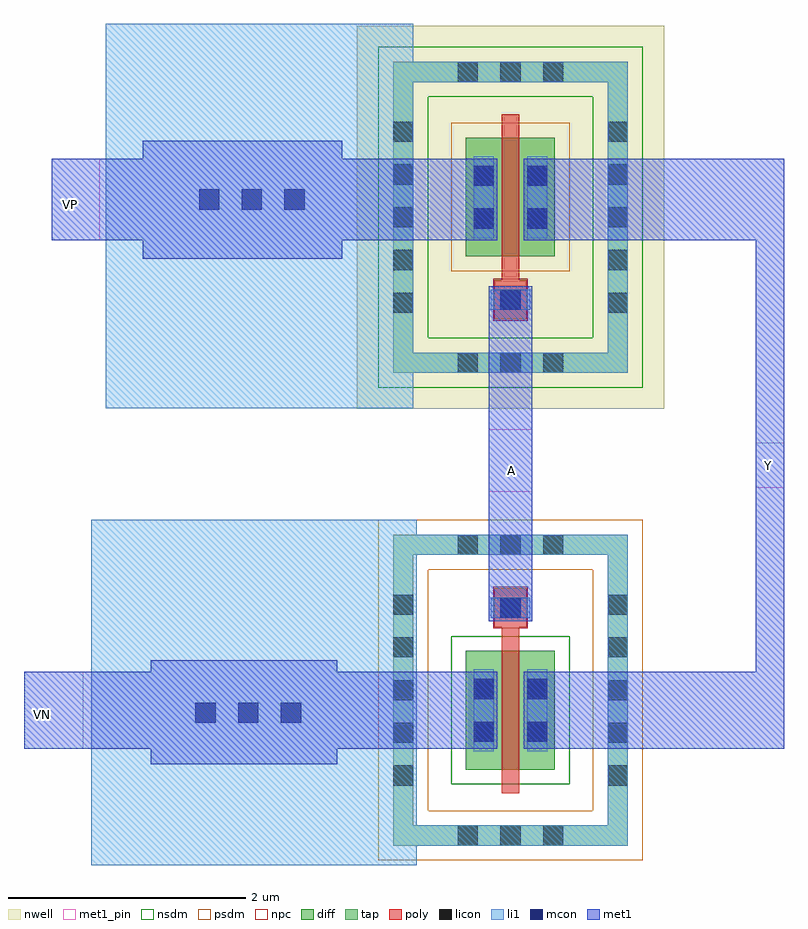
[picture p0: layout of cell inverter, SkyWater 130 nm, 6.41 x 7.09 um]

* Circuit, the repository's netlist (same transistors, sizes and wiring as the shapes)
* NGSPICE file created from inverter.ext - technology: sky130A

.subckt inverter A Y VP VN
X0 Y A VP VP sky130_fd_pr__pfet_01v8 ad=0.6 pd=3.2 as=0.6 ps=3.2 w=1 l=0.15
X1 Y A VN VN sky130_fd_pr__nfet_01v8 ad=0.6 pd=3.2 as=0.6 ps=3.2 w=1 l=0.15
.ends

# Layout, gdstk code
import gdstk
lib = gdstk.Library(unit=1e-6, precision=5e-09)
def R(c, l, rs):  # rectangles x0, y0, x1, y1
    for r in rs: c.add(gdstk.rectangle(r[:2], r[2:], *l))
def A(c, l, x, y, w, h, nx, ny, dx, dy):  # array of equal rectangles
    R(c, l, [(x+i*dx, y+j*dy, x+i*dx+w, y+j*dy+h) for i in range(nx) for j in range(ny)])
def P(c, l, *ps):  # polygons
    for p in ps: c.add(gdstk.Polygon(p, *l))
nwell = (64, 20)
diff = (65, 20)
tap = (65, 44)
poly = (66, 20)
licon = (66, 44)
li1 = (67, 20)
mcon = (67, 44)
met1_pin = (68, 16)
met1 = (68, 20)
nsdm = (93, 44)
psdm = (94, 20)
npc = (95, 20)

contact_1 = lib.new_cell('Contact$1')
R(contact_1, li1, [(-0.445,-0.085,0.445,0.085)])
A(contact_1, mcon, -0.445, -0.085, 0.17, 0.17, 3, 1, 0.36, 0)
R(contact_1, met1, [(-0.505,-0.115,0.505,0.115)])

nfet = lib.new_cell('nfet')
R(nfet, diff, [(0,0,0.75,1)])
P(nfet, tap, [(-0.615,-0.64),(-0.615,1.81),(-0.445,1.81),(-0.445,-0.47),(1.195,-0.47),(1.195,1.81),(-0.615,1.81),(-0.615,1.98),(1.365,1.98),(1.365,-0.64)])
R(nfet, poly, [(0.3,-0.2,0.45,1.2), (0.24,1.2,0.51,1.53)])
A(nfet, licon, -0.07, -0.64, 0.17, 0.17, 3, 2, 0.36, 2.45)
A(nfet, licon, -0.615, -0.135, 0.17, 0.17, 1, 5, 0, 0.36)
A(nfet, licon, 1.195, -0.135, 0.17, 0.17, 1, 5, 0, 0.36)
R(nfet, licon, [(0.065,0.235,0.235,0.405), (0.515,0.235,0.685,0.405), (0.065,0.595,0.235,0.765), (0.515,0.595,0.685,0.765), (0.29,1.28,0.46,1.45)])
R(nfet, li1, [(0.065,0.155,0.235,0.845), (0.515,0.155,0.685,0.845), (0.21,1.28,0.54,1.45)])
P(nfet, li1, [(-0.615,-0.64),(-0.615,1.81),(-0.445,1.81),(-0.445,-0.47),(1.195,-0.47),(1.195,1.81),(-0.615,1.81),(-0.615,1.98),(1.365,1.98),(1.365,-0.64)])
R(nfet, mcon, [(0.065,0.235,0.235,0.405), (0.515,0.235,0.685,0.405), (0.065,0.595,0.235,0.765), (0.515,0.595,0.685,0.765), (0.29,1.28,0.46,1.45)])
R(nfet, met1, [(0.035,0.175,0.265,0.825), (0.485,0.175,0.715,0.825), (0.19,1.25,0.56,1.48)])
R(nfet, nsdm, [(-0.125,-0.125,0.875,1.125)])
P(nfet, psdm, [(-0.74,-0.765),(-0.74,1.685),(-0.32,1.685),(-0.32,-0.345),(1.07,-0.345),(1.07,1.685),(-0.74,1.685),(-0.74,2.105),(1.49,2.105),(1.49,-0.765)])
R(nfet, npc, [(0.23,1.19,0.52,1.54)])

pfet = lib.new_cell('pfet')
R(pfet, nwell, [(-0.92,-1.285,1.67,1.945)])
R(pfet, diff, [(0,0,0.75,1)])
P(pfet, tap, [(-0.615,-0.98),(-0.615,1.47),(-0.445,1.47),(-0.445,-0.81),(1.195,-0.81),(1.195,1.47),(-0.615,1.47),(-0.615,1.64),(1.365,1.64),(1.365,-0.98)])
R(pfet, poly, [(0.24,-0.53,0.51,-0.2), (0.3,-0.2,0.45,1.2)])
A(pfet, licon, -0.07, -0.98, 0.17, 0.17, 3, 2, 0.36, 2.45)
A(pfet, licon, -0.615, -0.475, 0.17, 0.17, 1, 5, 0, 0.36)
A(pfet, licon, 1.195, -0.475, 0.17, 0.17, 1, 5, 0, 0.36)
R(pfet, licon, [(0.29,-0.45,0.46,-0.28), (0.065,0.235,0.235,0.405), (0.515,0.235,0.685,0.405), (0.065,0.595,0.235,0.765), (0.515,0.595,0.685,0.765)])
R(pfet, li1, [(0.21,-0.45,0.54,-0.28), (0.065,0.155,0.235,0.845), (0.515,0.155,0.685,0.845)])
P(pfet, li1, [(-0.615,-0.98),(-0.615,1.47),(-0.445,1.47),(-0.445,-0.81),(1.195,-0.81),(1.195,1.47),(-0.615,1.47),(-0.615,1.64),(1.365,1.64),(1.365,-0.98)])
R(pfet, mcon, [(0.29,-0.45,0.46,-0.28), (0.065,0.235,0.235,0.405), (0.515,0.235,0.685,0.405), (0.065,0.595,0.235,0.765), (0.515,0.595,0.685,0.765)])
R(pfet, met1, [(0.19,-0.48,0.56,-0.25), (0.035,0.175,0.265,0.825), (0.485,0.175,0.715,0.825)])
P(pfet, nsdm, [(-0.74,-1.105),(-0.74,1.345),(-0.32,1.345),(-0.32,-0.685),(1.07,-0.685),(1.07,1.345),(-0.74,1.345),(-0.74,1.765),(1.49,1.765),(1.49,-1.105)])
R(pfet, psdm, [(-0.125,-0.125,0.875,1.125)])
R(pfet, npc, [(0.23,-0.54,0.52,-0.19)])

inverter = lib.new_cell('inverter')
R(inverter, li1, [(122.675,0.22,125.42,3.13), (122.8,4.07,125.39,7.31)])
R(inverter, met1_pin, [(122.11,1.2,122.61,1.85), (126.025,3.365,126.395,3.895), (128.275,3.4,128.515,3.78), (122.345,5.485,122.75,6.175)])
R(inverter, met1, [(126.025,2.275,126.395,5.1)])
P(inverter, met1, [(123.18,1.07),(123.18,1.2),(122.11,1.2),(122.11,1.85),(123.18,1.85),(123.18,1.945),(124.75,1.945),(124.75,1.85),(126.1,1.85),(126.1,1.2),(124.75,1.2),(124.75,1.07)],
  [(126.32,1.2),(126.32,1.85),(128.275,1.85),(128.275,5.485),(126.32,5.485),(126.32,6.175),(128.275,6.175),(128.515,6.175),(128.515,1.2)],
  [(123.11,5.33),(123.11,5.485),(122.345,5.485),(122.345,6.175),(123.11,6.175),(123.11,6.325),(124.79,6.325),(124.79,6.175),(126.1,6.175),(126.1,5.485),(124.79,5.485),(124.79,5.33)])
inverter.add(gdstk.Reference(contact_1, (124.03,5.83)))
inverter.add(gdstk.Reference(contact_1, (124,1.505)))
inverter.add(gdstk.Reference(nfet, (125.835,1.025)))
inverter.add(gdstk.Reference(pfet, (125.835,5.35)))
inverter.add(gdstk.Label('VN', (122.27,1.49), layer=68, texttype=16))
inverter.add(gdstk.Label('VP', (122.505,5.785), layer=68, texttype=16))
inverter.add(gdstk.Label('A', (126.22,3.55), layer=68, texttype=16))
inverter.add(gdstk.Label('Y', (128.385,3.585), layer=68, texttype=16))

lib.write_gds('inverter.gds')
